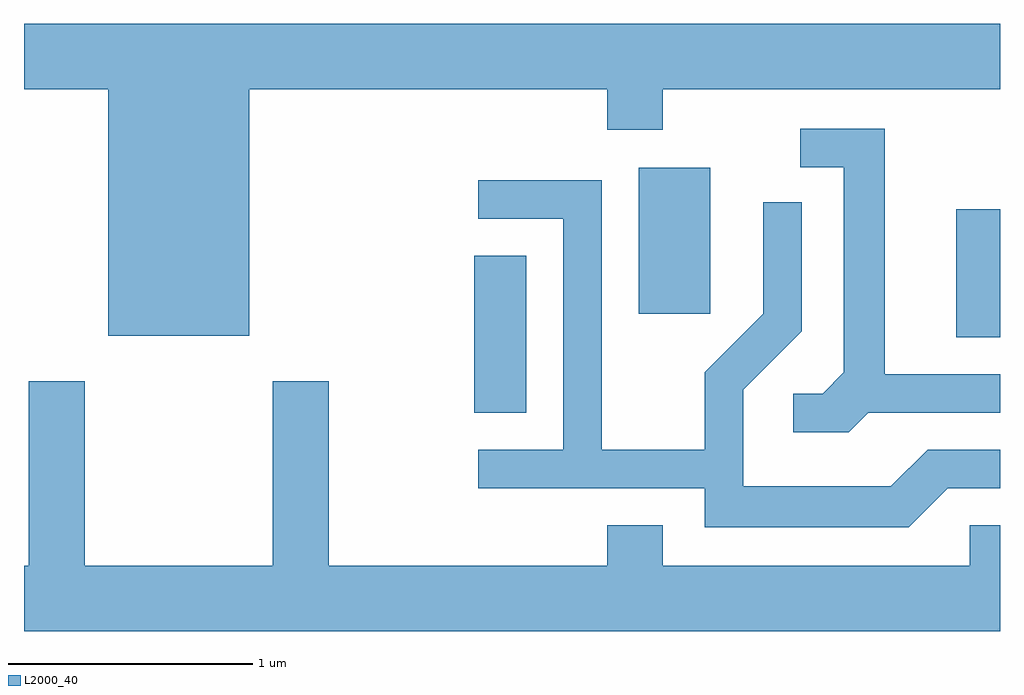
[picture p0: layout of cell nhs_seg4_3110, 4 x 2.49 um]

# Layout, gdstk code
import gdstk
lib = gdstk.Library(unit=1e-6, precision=1e-09)
def R(c, l, rs):  # rectangles x0, y0, x1, y1
    for r in rs: c.add(gdstk.rectangle(r[:2], r[2:], *l))
def P(c, l, *ps):  # polygons
    for p in ps: c.add(gdstk.Polygon(p, *l))
L2000_40 = (2000, 40)

nhs_seg4_3110 = lib.new_cell('nhs_seg4_3110')
R(nhs_seg4_3110, L2000_40, [(277.456,1355.571,277.669,1356.214), (279.431,1355.881,279.611,1356.404), (278.131,1355.976,278.424,1356.574)])
P(nhs_seg4_3110, L2000_40, [(276.534,1356.896),(278.001,1356.896),(278.001,1356.731),(278.229,1356.731),(278.229,1356.896),(279.611,1356.896),(279.611,1357.164),(275.611,1357.164),(275.611,1356.896),(275.956,1356.896),(275.956,1355.886),(276.534,1355.886)],
  [(279.072,1355.571),(279.611,1355.571),(279.611,1355.729),(279.139,1355.729),(279.139,1356.734),(278.793,1356.734),(278.793,1356.576),(278.971,1356.576),(278.971,1355.737),(278.884,1355.649),(278.763,1355.649),(278.763,1355.491),(278.992,1355.491)],
  [(279.397,1355.261),(279.611,1355.261),(279.611,1355.419),(279.314,1355.419),(279.164,1355.269),(278.559,1355.269),(278.559,1355.664),(278.799,1355.904),(278.799,1356.433),(278.641,1356.433),(278.641,1355.977),(278.401,1355.737),(278.401,1355.419),(277.979,1355.419),(277.979,1356.524),(277.473,1356.524),(277.473,1356.366),(277.821,1356.366),(277.821,1355.419),(277.473,1355.419),(277.473,1355.261),(278.401,1355.261),(278.401,1355.101),(279.237,1355.101)],
  [(279.611,1355.109),(279.486,1355.109),(279.486,1354.944),(278.229,1354.944),(278.229,1355.109),(278.001,1355.109),(278.001,1354.944),(276.859,1354.944),(276.859,1355.699),(276.631,1355.699),(276.631,1354.944),(275.859,1354.944),(275.859,1355.699),(275.631,1355.699),(275.631,1354.944),(275.611,1354.944),(275.611,1354.676),(279.611,1354.676)])

lib.write_gds('nhs_seg4_3110.gds')
